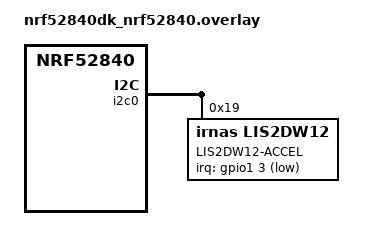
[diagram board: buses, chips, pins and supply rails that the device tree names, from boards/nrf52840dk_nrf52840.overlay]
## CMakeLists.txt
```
# SPDX-License-Identifier: Apache-2.0

cmake_minimum_required(VERSION 3.13.1)

find_package(Zephyr HINTS $ENV{ZEPHYR_BASE})
project(basic_lis2dw12)

zephyr_compile_options(-fdiagnostics-color=always)

target_sources(app PRIVATE src/main.c)
```

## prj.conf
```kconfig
# Enable logging (it needs to be disabled for low power)
CONFIG_PRINTK=y
CONFIG_GPIO=y
CONFIG_SERIAL=y
CONFIG_CONSOLE=y
CONFIG_LOG=y
CONFIG_LOG_DEFAULT_LEVEL=4
CONFIG_LOG_BACKEND_UART=y

CONFIG_I2C=y
CONFIG_SENSOR=y
CONFIG_IRNAS_LIS2DW12=y
CONFIG_SENSOR_LOG_LEVEL_DBG=y
CONFIG_IRNAS_LIS2DW12_TRIGGER_GLOBAL_THREAD=y
CONFIG_IRNAS_LIS2DW12_MOTION_DETECTION=y

CONFIG_PINCTRL=y
CONFIG_ASSERT=y

# RTT config
CONFIG_UART_CONSOLE=n
CONFIG_RTT_CONSOLE=y
CONFIG_USE_SEGGER_RTT=y

#Accelerometer FIFO management
CONFIG_IRNAS_LIS2DW12_FIFO=y
```

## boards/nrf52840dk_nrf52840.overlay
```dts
/*
 * Copyright (c) 2019, Linaro Ltd.
 *
 * SPDX-License-Identifier: Apache-2.0
 */

/* This is an example of an overlay implementation, check the driver's
 * `irnas-lis2dw12-driver/dts/bindings/irnas,lis2dw12-common.yaml`
 * file for detailed explanations of all possible settings.
 */
&i2c0 {
	lis2dw12_accel: lis2dw12-accel@19 {
        compatible = "irnas,lis2dw12";
        label = "LIS2DW12-ACCEL";
        reg = <0x19>;
        irq-gpios=<&gpio1 3 GPIO_ACTIVE_LOW>;
        int-pin = <1>;
        range = <2>;
        power-mode = <0>;
        wu-threshold = <0x9>;
        fifo-mode = <4>; /* Not needed for this specific sample because we set the FIFO mode again at runtime */
        fifo-threshold = <0x24>; /* Watermark threshold - used for watermark triggers */
    };
};
```

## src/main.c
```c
/*
 * Copyright (c) 2020 Irnas d.o.o.
 *
 * SPDX-License-Identifier: Apache-2.0
 */

/* NOTE: Current settings are not optima, experiment for double tap... */

#include <string.h>

#include <zephyr/device.h>
#include <zephyr/devicetree.h>
#include <zephyr/drivers/gpio.h>
#include <zephyr/drivers/i2c.h>
#include <zephyr/drivers/sensor.h>
#include <zephyr/kernel.h>
#include <zephyr/logging/log.h>

#include "lis2dw12_reg.h"

#include <irnas_lis2dw12_types.h>

LOG_MODULE_REGISTER(lis2_cont_to_fifo_sample);

BUILD_ASSERT(DT_NODE_EXISTS(DT_NODELABEL(lis2dw12_accel)),
	     "lis2dw12 accelerometer is not defined in DT");

#define NUMBER_OF_SAMPLES_PER_MOTION_EVENT 50

const struct device *lis2dw12_sensor = DEVICE_DT_GET(DT_NODELABEL(lis2dw12_accel));

static int accel_data_buf_itr = 0;

/* We currently can not control the amount of samples we want to read from the FIFO buffer. All
 * available samples get read and saved into the buffer when read. If we have less space available
 * in the buffer than there are samples in the FIFO we could get buffer overflow. Therefore we
 * extended the buffer for the maximum amount of possible FIFO samples (LIS2DW12_FIFO_MAX_SAMPLES).
 *
 * TLDR: We add LIS2DW12_FIFO_MAX_SAMPLES (32) samples for each axis to avoid potential overflow.
 */
struct sensor_value
	accel_data_buf[(NUMBER_OF_SAMPLES_PER_MOTION_EVENT + LIS2DW12_FIFO_MAX_SAMPLES) * 3];

struct sensor_trigger prv_trig;
struct sensor_trigger prv_trig2;

static void prv_trigger_handler_motion(const struct device *dev, const struct sensor_trigger *trig);

/**
 * @brief Set the accelerometer's FIFO buffer mode.
 *
 * @param[in] mode The FIFO mode to set. This should be one of the lis2dw12_fmode_t enumerations.
 */
static void prv_set_fifo_mode(lis2dw12_fmode_t mode)
{
	/* Put FIFO into `bypass` mode
	 *
	 * The FIFO modes are (enumerated as specified in the datasheet):
	 *  0. LIS2DW12_BYPASS_MODE,
	 *  1. LIS2DW12_FIFO_MODE,
	 *  3. LIS2DW12_CONT_TO_FIFO_MODE,
	 *  4. LIS2DW12_BYPASS_TO_STREAM_MODE,
	 *  6. LIS2DW12_CONTINUOUS_MODE.
	 */
	struct sensor_value fifo_mode;
	fifo_mode.val1 = mode;
	fifo_mode.val2 = 0;

	int err = sensor_attr_set(lis2dw12_sensor, SENSOR_CHAN_ACCEL_XYZ,
				  (int)SENSOR_ATTR_IRNAS_LIS2DW12_FIFO_MODE, &fifo_mode);
	if (err < 0) {
		LOG_ERR("Failed to set FIFO mode: %d", err);
	} else {
		LOG_DBG("FIFO mode set to %d", fifo_mode.val1);
	}
}

/**
 * @brief Fetch and display the accelerometer data.
 *
 * @param sensor device structure (for the LIS2DW12 sensor).
 */
static void prv_fetch_and_display(const struct device *sensor)
{
	if (!sensor) {
		LOG_ERR("Failed to init LIS2DW12!");
	}
	int err = sensor_sample_fetch(sensor);
	if (!err) {
		err = sensor_channel_get(sensor, SENSOR_CHAN_ACCEL_XYZ, accel_data_buf);
	}
	if (err < 0) {
		LOG_ERR("ERROR: LIS2DW12 Update failed: %d", err);
	} else {
		LOG_INF("x: %d.%04d; y: %d.%04d; z: %d.%04d", accel_data_buf[0].val1,
			accel_data_buf[0].val2, accel_data_buf[1].val1, accel_data_buf[1].val2,
			accel_data_buf[2].val1, accel_data_buf[2].val2);
	}
}

/**
 * @brief print the first NUMBER_OF_SAMPLES_PER_MOTION_EVENT elements of the accel_data_buf
 *
 */
static void prv_print_buff(struct sensor_value *buf)
{
	LOG_INF("Accelerometer data: ");
	for (int i = 0; i < NUMBER_OF_SAMPLES_PER_MOTION_EVENT * 3; i += 3) {
		/* We use printk here for increased readability */
		LOG_PRINTK("x: %d.%04d; y: %d.%04d; z: %d.%04d\n", buf[i].val1, buf[i].val2,
			   buf[i + 1].val1, buf[i + 1].val2, buf[i + 2].val1, buf[i + 2].val2);

		k_sleep(K_MSEC(5)); /* Sleep so we don't drop logs */
	}
}

/**
 * @brief Fetch accelerometer data and fill the buffer with it. After enough data is
 * collected, reset fifo mode.
 *
 * Reset FIFO mode procedure:
 * 1. Set FIFO mode to `bypass` mode.
 * 2. Set FIFO mode to `bypass-to-continuous` mode.
 *
 * @param[in] sensor device structure (for the LIS2DW12 sensor).
 */
static void prv_read_from_fifo(const struct device *sensor)
{
	if (!sensor) {
		LOG_ERR("Failed to init LIS2DW12!");
	}

	int err = sensor_sample_fetch(sensor);
	if (!err) {
		struct sensor_value fifo_count;
		/* Read number of available samples */
		err = sensor_channel_get(sensor, (int)SENSOR_CHAN_IRNAS_LIS2DW12_FIFO_COUNT,
					 &fifo_count);
		if (err < 0) {
			LOG_ERR("Could not retrieve FIFO count from lis2dw12 driver: %d", err);
		} else {
			LOG_INF("FIFO count: %d", fifo_count.val1);
		}

		/* Read samples from FIFO */
		err = sensor_channel_get(sensor, (int)SENSOR_CHAN_IRNAS_ACCEL_XYZ_FIFO,
					 &accel_data_buf[accel_data_buf_itr]);
		if (err < 0) {
			LOG_ERR("Data retrieval failed: %d", err);
		} else {
			accel_data_buf_itr += fifo_count.val1 * 3;
		}

		/* Check if enough samples were read */
		if (accel_data_buf_itr >= NUMBER_OF_SAMPLES_PER_MOTION_EVENT * 3) {
			prv_print_buff(accel_data_buf);
			accel_data_buf_itr = 0;

			/* Set to bypass mode to reset FIFO buffer */
			prv_set_fifo_mode(LIS2DW12_BYPASS_MODE);
			prv_set_fifo_mode(LIS2DW12_BYPASS_TO_STREAM_MODE);
		}
	}
}

/**
 * @brief Handler for motion detection trigger.
 *
 * @param[in] dev interrupting device
 * @param[in] trig trigger structure
 */
static void prv_trigger_handler_motion(const struct device *dev, const struct sensor_trigger *trig)
{
	LOG_WRN("Motion detected!");
	prv_fetch_and_display(dev);
}

/**
 * @brief Handler for watermark detection trigger.
 *
 * @param[in] dev interrupting device
 * @param[in] trig trigger structure
 */
static void prv_trigger_handler_watermark(const struct device *dev,
					  const struct sensor_trigger *trig)
{
	LOG_WRN("Watermark detected!");
	prv_read_from_fifo(dev);
}

int main(void)
{
	if (!lis2dw12_sensor) {
		LOG_ERR("Failed to init LIS2DW12!");
	} else {
		LOG_INF("Bind to LIS2DW12.");
	}

	if (!device_is_ready(lis2dw12_sensor)) {
		LOG_ERR("Device %s is not ready", lis2dw12_sensor->name);
	} else {
		LOG_INF("Device %s is ready", lis2dw12_sensor->name);
	}

	struct sensor_value odr_attr;

	/* set LIS2DW12 accel sampling frequency to 12.5 Hz */
	odr_attr.val1 = 12;
	odr_attr.val2 = 0;

	int err;
	err = sensor_attr_set(lis2dw12_sensor, SENSOR_CHAN_ACCEL_XYZ,
			      SENSOR_ATTR_SAMPLING_FREQUENCY, &odr_attr);
	if (err < 0) {
		LOG_ERR("Cannot set sampling frequency for LIS2DW12 accel");
		return err;
	}

	/* Set FIFO to bypass-to-continuous mode */
	prv_set_fifo_mode(LIS2DW12_BYPASS_TO_STREAM_MODE);

	/* Set motion trigger */
	prv_trig.type = SENSOR_TRIG_DELTA;
	if (sensor_trigger_set(lis2dw12_sensor, &prv_trig, prv_trigger_handler_motion)) {
		LOG_ERR("Failed to set trigger!");
	}

	/* Set FIFO watermark trigger
	 * Note: The FIFO watermark level is configured in the board's respective .dts file.
	 */
	prv_trig2.type = (int)SENSOR_TRIG_IRNAS_FIFO_WATERMARK;
	prv_trig2.chan = SENSOR_CHAN_ACCEL_XYZ;
	if (sensor_trigger_set(lis2dw12_sensor, &prv_trig2, prv_trigger_handler_watermark)) {
		LOG_ERR("Failed to set trigger!");
	}

	return 0;
}
```
